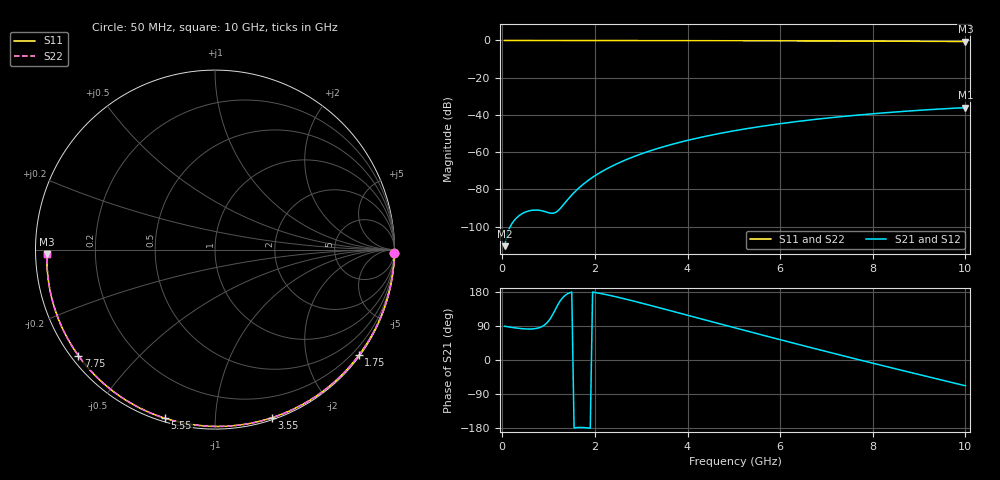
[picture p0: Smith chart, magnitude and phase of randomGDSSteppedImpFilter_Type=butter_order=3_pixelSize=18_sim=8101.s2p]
! freq	dB(S11)	phase(S11)	dB(S12)	phase(S12)
!  dB(S21)	phase(S21)	dB(S22)	phase(S22)
!S-par simulation data
#  GHz  S  DB  R 50
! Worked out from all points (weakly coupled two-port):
!   200 points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, 50 MHz to 10 GHz, reference 50 ohm
!   highest |S21| = -36.06 dB at 10 GHz (marker M1); lowest = -110.4 dB at 50 MHz (marker M2)
!   lowest |S11| = -0.6 dB at 10 GHz (marker M3), VSWR 30.78, Z = 1.62 - j0.677 ohm
!   |S11| at or under -10 dB: nowhere
!   |S22| runs from -0.6 to 0.0 dB; largest |S21 - S12| = 0
!   S11 on the Smith chart (normalised r, x): 50 MHz: open; 1.75 GHz: 0.03, -3.05; 3.55 GHz: 0.02, -1.40; 5.55 GHz: 0.02, -0.75; 7.75 GHz: 0.02, -0.34; 10 GHz: 0.03, -0.01
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0.05  -0.00 -1.1  -110.43 89.0  -110.43 89.0  -0.00 -1.1
0.4  -0.01 -8.5  -93.40 83.0  -93.40 83.0  -0.01 -8.5
0.8  -0.02 -16.8  -91.18 85.3  -91.18 85.3  -0.02 -16.8
1.6  -0.04 -33.3  -80.43 -178.4  -80.43 -178.4  -0.04 -33.3
1.65  -0.04 -34.3  -79.27 -178.0  -79.27 -178.0  -0.04 -34.3
1.75  -0.05 -36.3  -77.14 -178.2  -77.14 -178.2  -0.05 -36.3
1.9  -0.05 -39.3  -74.32 -180.0  -74.32 -180.0  -0.05 -39.3
2.05  -0.05 -42.3  -71.85 177.2  -71.85 177.2  -0.05 -42.3
2.25  -0.06 -46.3  -68.98 172.4  -68.98 172.4  -0.06 -46.3
2.45  -0.06 -50.3  -66.48 167.0  -66.48 167.0  -0.06 -50.3
2.9  -0.08 -59.0  -61.78 153.5  -61.78 153.5  -0.08 -59.0
3.4  -0.09 -68.5  -57.63 137.6  -57.63 137.6  -0.09 -68.5
3.55  -0.09 -71.3  -56.55 132.7  -56.55 132.7  -0.09 -71.3
4.3  -0.12 -84.9  -51.93 108.3  -51.93 108.3  -0.12 -84.9
5.05  -0.15 -98.0  -48.30 84.0  -48.30 84.0  -0.15 -98.0
5.55  -0.17 -106.5  -46.28 67.9  -46.28 67.9  -0.17 -106.5
6.1  -0.20 -115.6  -44.35 50.4  -44.35 50.4  -0.20 -115.6
6.7  -0.24 -125.4  -42.52 31.5  -42.52 31.5  -0.24 -125.4
7.75  -0.32 -142.1  -39.89 -0.8  -39.89 -0.8  -0.32 -142.1
8.35  -0.38 -151.7  -38.65 -19.0  -38.65 -19.0  -0.38 -151.7
9.2  -0.47 -165.3  -37.17 -44.4  -37.17 -44.4  -0.47 -165.3
10  -0.56 -178.4  -36.06 -68.0  -36.06 -68.0  -0.56 -178.4
